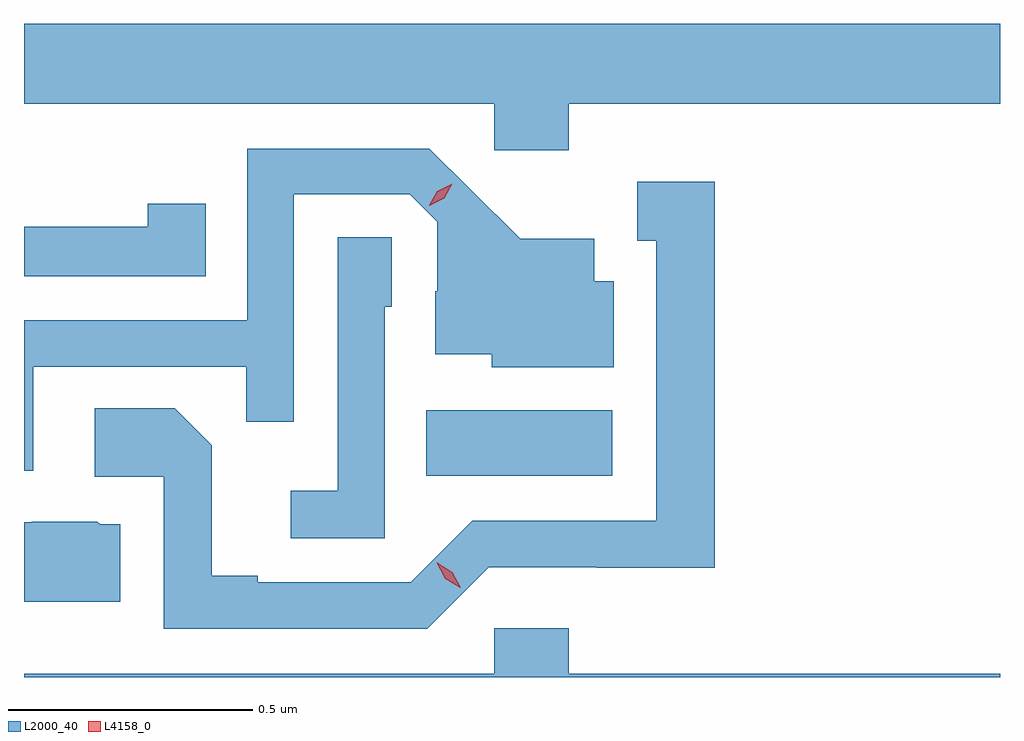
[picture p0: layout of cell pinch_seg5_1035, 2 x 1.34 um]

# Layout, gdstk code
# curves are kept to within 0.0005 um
import gdstk
lib = gdstk.Library(unit=1e-6, precision=1e-09)
def R(c, l, rs):  # rectangles x0, y0, x1, y1
    for r in rs: c.add(gdstk.rectangle(r[:2], r[2:], *l))
def P(c, l, *ps):  # polygons
    for p in ps: c.add(gdstk.Polygon(p, *l))
L2000_40 = (2000, 40)
L4158_0 = (4158, 0)

pinch_seg5_1035 = lib.new_cell('pinch_seg5_1035')
R(pinch_seg5_1035, L2000_40, [(719.452,833.354,719.833,833.488)])
P(pinch_seg5_1035, L2000_40, [(719.744,834.116),(720.628,834.116),(720.628,834.28),(718.628,834.28),(718.628,834.116),(719.592,834.116),(719.592,834.021),(719.744,834.021)],
  [(718.647,833.577),(719.083,833.577),(719.083,833.464),(719.181,833.464),(719.181,833.931),(719.418,833.931),(719.475,833.874),(719.475,833.732),(719.471,833.732),(719.471,833.603),(719.586,833.603),(719.586,833.576),(719.836,833.576),(719.836,833.752),(719.797,833.752),(719.797,833.839),(719.645,833.839),(719.458,834.024),(719.085,834.024),(719.085,833.673),(718.628,833.673),(718.628,833.364),(718.647,833.364)],
  [(719.58,833.166),(719.802,833.166),(719.802,833.165),(720.043,833.165),(720.043,833.956),(719.885,833.956),(719.885,833.835),(719.924,833.835),(719.924,833.262),(719.547,833.262),(719.421,833.136),(719.107,833.136),(719.107,833.149),(719.013,833.149),(719.013,833.416),(718.937,833.492),(718.773,833.492),(718.773,833.352),(718.914,833.352),(718.914,833.04),(719.454,833.04)],
  [(719,833.911),(718.882,833.911),(718.882,833.864),(718.628,833.864),(718.628,833.763),(719,833.763)],
  [(719.367,833.7),(719.382,833.7),(719.382,833.843),(719.271,833.843),(719.271,833.323),(719.175,833.323),(719.175,833.226),(719.367,833.226)],
  [(718.825,833.254),(718.784,833.254),(718.778,833.26),(718.644,833.26),(718.644,833.259),(718.628,833.259),(718.628,833.096),(718.825,833.096)],
  [(720.628,832.948),(719.744,832.948),(719.744,833.041),(719.592,833.041),(719.592,832.948),(718.628,832.948),(718.628,832.941),(720.628,832.941)])
P(pinch_seg5_1035, L4158_0, [(719.522,833.124),(719.491,833.143),(719.474,833.176),(719.474,833.176),(719.475,833.176),(719.506,833.156),(719.523,833.124),(719.523,833.124)],
  [(719.458,833.907),(719.458,833.908),(719.475,833.937),(719.506,833.952),(719.506,833.952),(719.506,833.952),(719.489,833.922),(719.458,833.907)])

lib.write_gds('pinch_seg5_1035.gds')
